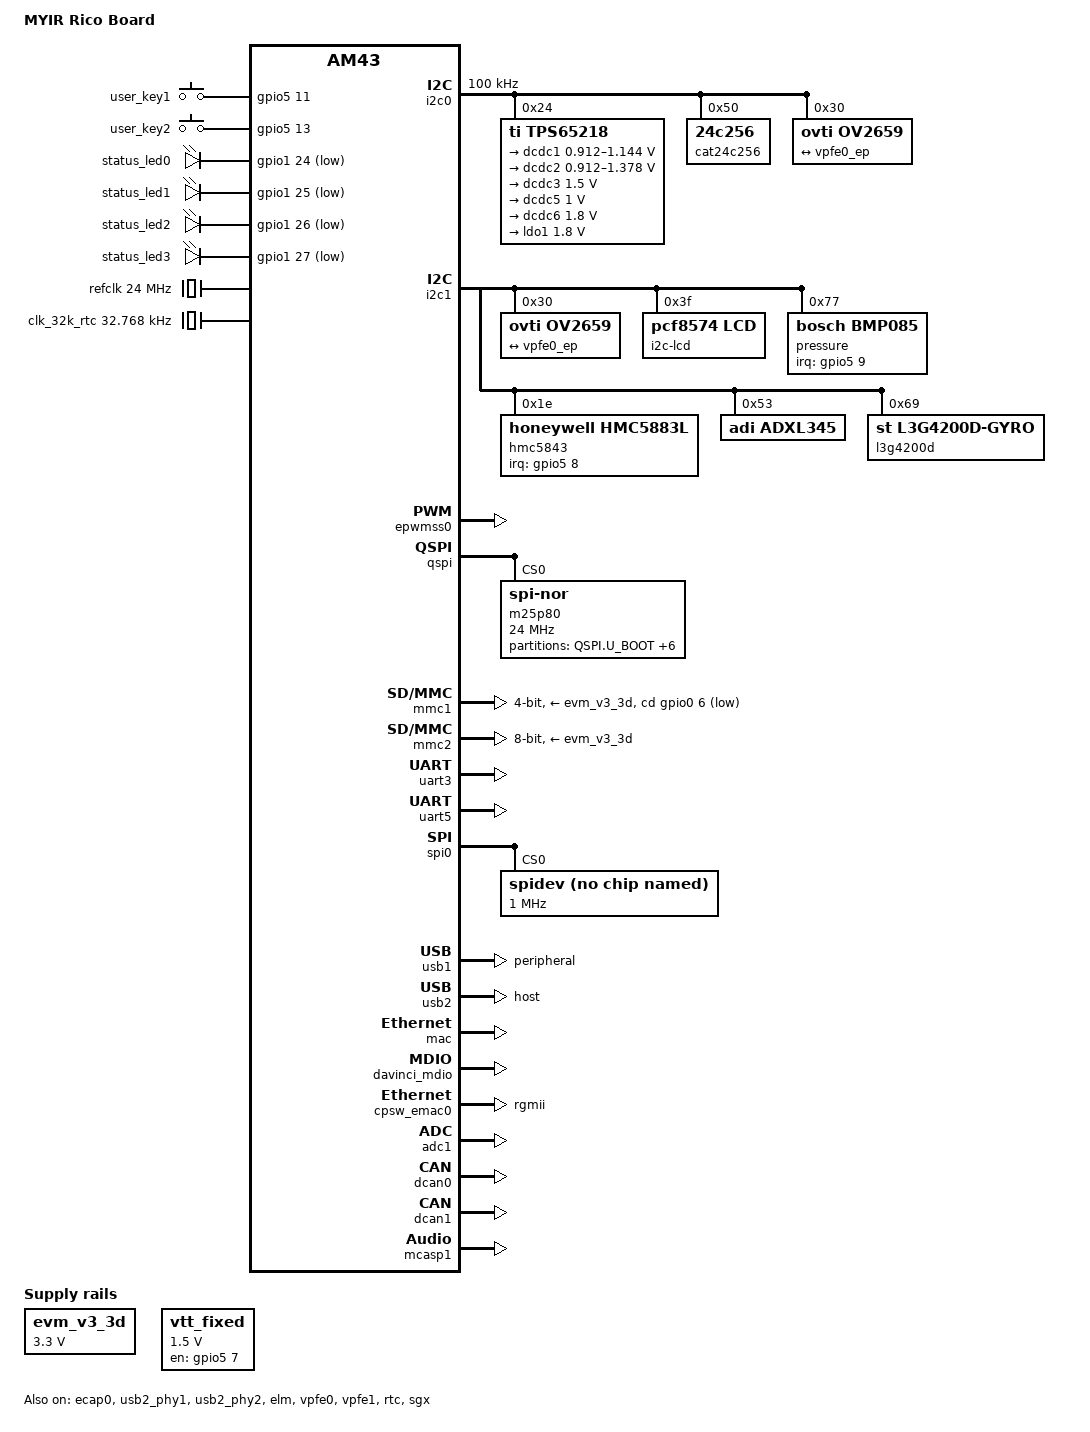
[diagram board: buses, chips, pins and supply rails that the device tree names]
/*
 * Device Tree Source for am4378 Ricoboard
 *
 * Copyright (C) 2013 Texas Instruments Incorporated - http://www.ti.com/
 *
 * This file is licensed under the terms of the GNU General Public License
 * version 2.  This program is licensed "as is" without any warranty of any
 * kind, whether express or implied.
 */

/ {
	model = "MYIR Rico Board";
	compatible = "myir,ricoboard","ti,am4372","ti,am43";

	aliases {
		serial3 = &uart3;
		serial5 = &uart5;
		spi1    = &spi0;
		spi5    = &qspi;
	};

	evm_v3_3d: fixedregulator-v3_3d {
		compatible = "regulator-fixed";
		regulator-name = "evm_v3_3d";
		regulator-min-microvolt = <3300000>;
		regulator-max-microvolt = <3300000>;
		enable-active-high;
	};

	vtt_fixed: fixedregulator-vtt {
		compatible = "regulator-fixed";
		regulator-name = "vtt_fixed";
		regulator-min-microvolt = <1500000>;
		regulator-max-microvolt = <1500000>;
		regulator-always-on;
		regulator-boot-on;
		enable-active-high;
		gpio = <&gpio5 7 GPIO_ACTIVE_HIGH>;
	};

	/* Gpio keys, MYiR */
	gpio_keys {
		compatible = "gpio-keys";
		#address-cells = <1>;
		#size-cells = <0>;
		pinctrl-names = "default";
		pinctrl-0 = <&keys_pins_default>;

		user_key1 {
			label = "user_key1";
			gpios = <&gpio5 11 GPIO_ACTIVE_HIGH>;
			linux,code = <102>;
			gpio-key,wakeup;
		};

		user_key2 {
			label = "user_key2";
			gpios = <&gpio5 13 GPIO_ACTIVE_HIGH>;
			linux,code = <158>;
			gpio-key,wakeup;
		};
	};

	/* Gpio leds, MYiR */
	gpio_leds {
		compatible = "gpio-leds";
		pinctrl-names = "default";
		pinctrl-0 = <&leds_pins_default>;

		status_led0 {
			label = "status_led0";
			gpios = <&gpio1 24 GPIO_ACTIVE_LOW>;
			linux,default-trigger = "heartbeat";
		};

		status_led1 {
			label = "status_led1";
			gpios = <&gpio1 25 GPIO_ACTIVE_LOW>;
			default-state = "off";
		};

		status_led2 {
			label = "status_led2";
			gpios = <&gpio1 26 GPIO_ACTIVE_LOW>;
			default-state = "off";
		};

		status_led3 {
			label = "status_led3";
			gpios = <&gpio1 27 GPIO_ACTIVE_LOW>;
			default-state = "off";
		};
	};

	/* fixed 24MHz oscillator */
	refclk: oscillator {
		#clock-cells = <0>;
		compatible = "fixed-clock";
		clock-frequency = <24000000>;
	};

	/* fixed 32k external oscillator clock */
	clk_32k_rtc: clk_32k_rtc {
		#clock-cells = <0>;
		compatible = "fixed-clock";
		clock-frequency = <32768>;
	};

	sound0: sound0 {
		status = "disabled";
		compatible = "simple-audio-card";
		simple-audio-card,name = "AM437x-GP-EVM";
		simple-audio-card,widgets =
			"Headphone", "Headphone Jack",
			"Line", "Line In";
		simple-audio-card,routing =
			"Headphone Jack",	"HPLOUT",
			"Headphone Jack",	"HPROUT",
			"LINE1L",		"Line In",
			"LINE1R",		"Line In";
		simple-audio-card,format = "dsp_b";
		/* simple-audio-card,bitclock-master = <&sound0_master>; */
		/* simple-audio-card,frame-master = <&sound0_master>; */
		simple-audio-card,bitclock-inversion;

		simple-audio-card,cpu {
			sound-dai = <&mcasp1>;
			system-clock-frequency = <12000000>;
		};

		/* Not directly available on RICO board
		 * sound0_master: simple-audio-card,codec {
		 *	sound-dai = <&tlv320aic3106>;
		 *	system-clock-frequency = <12000000>;
		 * };
		 */
	};
   
};

&am43xx_pinmux {
	pinctrl-names = "default", "sleep";
	pinctrl-0 = <&sii9022_gpio_pins_default &unused_pins>;
	pinctrl-1 = <&sii9022_gpio_pins_sleep &unused_pins>;

    ecap0_pins: backlight_pins {
        pinctrl-single,pins = <
            AM4372_IOPAD(0x964, MUX_MODE0)       /* eCAP0_in_PWM0_out.eCAP0_in_PWM0_out MODE0 */
        >;
    };

	i2c0_pins: i2c0_pins {
		pinctrl-single,pins = <
			AM4372_IOPAD(0x988, PIN_INPUT_PULLUP | SLEWCTRL_FAST | MUX_MODE0)  /* i2c0_sda.i2c0_sda */
			AM4372_IOPAD(0x98c, PIN_INPUT_PULLUP | SLEWCTRL_FAST | MUX_MODE0)  /* i2c0_scl.i2c0_scl */
		>;
	};

	i2c1_pins: i2c1_pins {
		pinctrl-single,pins = <
			AM4372_IOPAD(0xa40, PIN_INPUT_PULLUP | SLEWCTRL_FAST | MUX_MODE1)  /* gpio5_10.i2c1_scl */
			AM4372_IOPAD(0xa48, PIN_INPUT_PULLUP | SLEWCTRL_FAST | MUX_MODE1)  /* gpio5_12.i2c1_sda */
		>;
	};

	mmc1_pins: pinmux_mmc1_pins {
		pinctrl-single,pins = <
			AM4372_IOPAD(0x900, PIN_INPUT_PULLUP | MUX_MODE0) /* mmc0_clk.mmc0_clk */
			AM4372_IOPAD(0x904, PIN_INPUT_PULLUP | MUX_MODE0) /* mmc0_cmd.mmc0_cmd */
			AM4372_IOPAD(0x8f0, PIN_INPUT_PULLUP | MUX_MODE0) /* mmc0_dat0.mmc0_dat0 */
			AM4372_IOPAD(0x8f4, PIN_INPUT_PULLUP | MUX_MODE0) /* mmc0_dat1.mmc0_dat1 */
			AM4372_IOPAD(0x8f8, PIN_INPUT_PULLUP | MUX_MODE0) /* mmc0_dat2.mmc0_dat2 */
			AM4372_IOPAD(0x8fc, PIN_INPUT_PULLUP | MUX_MODE0) /* mmc0_dat3.mmc0_dat3 */
			AM4372_IOPAD(0x960, PIN_INPUT | MUX_MODE7) /* spi0_cs1.gpio0_6 */
		>;
	};

	cpsw_default: cpsw_default {
		pinctrl-single,pins = <
			/* Slave 1 */
			AM4372_IOPAD(0x914, PIN_OUTPUT_PULLDOWN | MUX_MODE2)	/* mii1_txen.rgmii1_txen */
			AM4372_IOPAD(0x918, PIN_INPUT_PULLDOWN | MUX_MODE2)	/* mii1_rxdv.rgmii1_rxctl */
			AM4372_IOPAD(0x91c, PIN_OUTPUT_PULLDOWN | MUX_MODE2)	/* mii1_txd1.rgmii1_txd3 */
			AM4372_IOPAD(0x920, PIN_OUTPUT_PULLDOWN | MUX_MODE2)	/* mii1_txd0.rgmii1_txd2 */
			AM4372_IOPAD(0x924, PIN_OUTPUT_PULLDOWN | MUX_MODE2)	/* mii1_txd1.rgmii1_txd1 */
			AM4372_IOPAD(0x928, PIN_OUTPUT_PULLDOWN | MUX_MODE2)	/* mii1_txd0.rgmii1_txd0 */
			AM4372_IOPAD(0x92c, PIN_OUTPUT_PULLDOWN | MUX_MODE2)	/* mii1_txclk.rmii1_tclk */
			AM4372_IOPAD(0x930, PIN_INPUT_PULLDOWN | MUX_MODE2)	/* mii1_rxclk.rmii1_rclk */
			AM4372_IOPAD(0x934, PIN_INPUT_PULLDOWN | MUX_MODE2)	/* mii1_rxd1.rgmii1_rxd3 */
			AM4372_IOPAD(0x938, PIN_INPUT_PULLDOWN | MUX_MODE2)	/* mii1_rxd0.rgmii1_rxd2 */
			AM4372_IOPAD(0x93c, PIN_INPUT_PULLDOWN | MUX_MODE2)	/* mii1_rxd1.rgmii1_rxd1 */
			AM4372_IOPAD(0x940, PIN_INPUT_PULLDOWN | MUX_MODE2)	/* mii1_rxd0.rgmii1_rxd0 */
		>;
	};

	cpsw_sleep: cpsw_sleep {
		pinctrl-single,pins = <
			/* Slave 1 reset value */
			AM4372_IOPAD(0x914, PIN_INPUT_PULLDOWN | MUX_MODE7)
			AM4372_IOPAD(0x918, PIN_INPUT_PULLDOWN | MUX_MODE7)
			AM4372_IOPAD(0x91c, PIN_INPUT_PULLDOWN | MUX_MODE7)
			AM4372_IOPAD(0x920, PIN_INPUT_PULLDOWN | MUX_MODE7)
			AM4372_IOPAD(0x924, PIN_INPUT_PULLDOWN | MUX_MODE7)
			AM4372_IOPAD(0x928, PIN_INPUT_PULLDOWN | MUX_MODE7)
			AM4372_IOPAD(0x92c, PIN_INPUT_PULLDOWN | MUX_MODE7)
			AM4372_IOPAD(0x930, PIN_INPUT_PULLDOWN | MUX_MODE7)
			AM4372_IOPAD(0x934, PIN_INPUT_PULLDOWN | MUX_MODE7)
			AM4372_IOPAD(0x938, PIN_INPUT_PULLDOWN | MUX_MODE7)
			AM4372_IOPAD(0x93c, PIN_INPUT_PULLDOWN | MUX_MODE7)
			AM4372_IOPAD(0x940, PIN_INPUT_PULLDOWN | MUX_MODE7)
		>;
	};

	davinci_mdio_default: davinci_mdio_default {
		pinctrl-single,pins = <
			/* MDIO */
			AM4372_IOPAD(0x948, PIN_INPUT_PULLUP | SLEWCTRL_FAST | MUX_MODE0)	/* mdio_data.mdio_data */
			AM4372_IOPAD(0x94c, PIN_OUTPUT_PULLUP | MUX_MODE0)			/* mdio_clk.mdio_clk */
		>;
	};

	davinci_mdio_sleep: davinci_mdio_sleep {
		pinctrl-single,pins = <
			/* MDIO reset value */
			AM4372_IOPAD(0x948, PIN_INPUT_PULLDOWN | MUX_MODE7)
			AM4372_IOPAD(0x94c, PIN_INPUT_PULLDOWN | MUX_MODE7)
		>;
	};

	nand_flash_x8: nand_flash_x8 {
		pinctrl-single,pins = <
			AM4372_IOPAD(0x800, PIN_INPUT  | MUX_MODE0)	/* gpmc_ad0.gpmc_ad0 */
			AM4372_IOPAD(0x804, PIN_INPUT  | MUX_MODE0)	/* gpmc_ad1.gpmc_ad1 */
			AM4372_IOPAD(0x808, PIN_INPUT  | MUX_MODE0)	/* gpmc_ad2.gpmc_ad2 */
			AM4372_IOPAD(0x80c, PIN_INPUT  | MUX_MODE0)	/* gpmc_ad3.gpmc_ad3 */
			AM4372_IOPAD(0x810, PIN_INPUT  | MUX_MODE0)	/* gpmc_ad4.gpmc_ad4 */
			AM4372_IOPAD(0x814, PIN_INPUT  | MUX_MODE0)	/* gpmc_ad5.gpmc_ad5 */
			AM4372_IOPAD(0x818, PIN_INPUT  | MUX_MODE0)	/* gpmc_ad6.gpmc_ad6 */
			AM4372_IOPAD(0x81c, PIN_INPUT  | MUX_MODE0)	/* gpmc_ad7.gpmc_ad7 */
			AM4372_IOPAD(0x870, PIN_INPUT_PULLUP | MUX_MODE0)	/* gpmc_wait0.gpmc_wait0 */
			AM4372_IOPAD(0x874, PIN_OUTPUT_PULLUP | MUX_MODE7)	/* gpmc_wpn.gpmc_wpn */
			AM4372_IOPAD(0x87c, PIN_OUTPUT | MUX_MODE0)		/* gpmc_csn0.gpmc_csn0  */
			AM4372_IOPAD(0x890, PIN_OUTPUT | MUX_MODE0)		/* gpmc_advn_ale.gpmc_advn_ale */
			AM4372_IOPAD(0x894, PIN_OUTPUT | MUX_MODE0)		/* gpmc_oen_ren.gpmc_oen_ren */
			AM4372_IOPAD(0x898, PIN_OUTPUT | MUX_MODE0)		/* gpmc_wen.gpmc_wen */
			AM4372_IOPAD(0x89c, PIN_OUTPUT | MUX_MODE0)		/* gpmc_be0n_cle.gpmc_be0n_cle */
		>;
	};

	dss_pins: dss_pins {
		pinctrl-single,pins = <
			AM4372_IOPAD(0x820, PIN_OUTPUT_PULLUP | MUX_MODE1) /*gpmc ad 8 -> DSS DATA 23 */
			AM4372_IOPAD(0x824, PIN_OUTPUT_PULLUP | MUX_MODE1)
			AM4372_IOPAD(0x828, PIN_OUTPUT_PULLUP | MUX_MODE1)
			AM4372_IOPAD(0x82c, PIN_OUTPUT_PULLUP | MUX_MODE1)
			AM4372_IOPAD(0x830, PIN_OUTPUT_PULLUP | MUX_MODE1)
			AM4372_IOPAD(0x834, PIN_OUTPUT_PULLUP | MUX_MODE1)
			AM4372_IOPAD(0x838, PIN_OUTPUT_PULLUP | MUX_MODE1)
			AM4372_IOPAD(0x83c, PIN_OUTPUT_PULLUP | MUX_MODE1) /*gpmc ad 15 -> DSS DATA 16 */
			AM4372_IOPAD(0x8a0, PIN_OUTPUT_PULLUP | MUX_MODE0) /* DSS DATA 0 */
			AM4372_IOPAD(0x8a4, PIN_OUTPUT_PULLUP | MUX_MODE0)
			AM4372_IOPAD(0x8a8, PIN_OUTPUT_PULLUP | MUX_MODE0)
			AM4372_IOPAD(0x8ac, PIN_OUTPUT_PULLUP | MUX_MODE0)
			AM4372_IOPAD(0x8b0, PIN_OUTPUT_PULLUP | MUX_MODE0)
			AM4372_IOPAD(0x8b4, PIN_OUTPUT_PULLUP | MUX_MODE0)
			AM4372_IOPAD(0x8b8, PIN_OUTPUT_PULLUP | MUX_MODE0)
			AM4372_IOPAD(0x8bc, PIN_OUTPUT_PULLUP | MUX_MODE0)
			AM4372_IOPAD(0x8c0, PIN_OUTPUT_PULLUP | MUX_MODE0)
			AM4372_IOPAD(0x8c4, PIN_OUTPUT_PULLUP | MUX_MODE0)
			AM4372_IOPAD(0x8c8, PIN_OUTPUT_PULLUP | MUX_MODE0)
			AM4372_IOPAD(0x8cc, PIN_OUTPUT_PULLUP | MUX_MODE0)
			AM4372_IOPAD(0x8d0, PIN_OUTPUT_PULLUP | MUX_MODE0)
			AM4372_IOPAD(0x8d4, PIN_OUTPUT_PULLUP | MUX_MODE0)
			AM4372_IOPAD(0x8d8, PIN_OUTPUT_PULLUP | MUX_MODE0)
			AM4372_IOPAD(0x8dc, PIN_OUTPUT_PULLUP | MUX_MODE0) /* DSS DATA 15 */
			AM4372_IOPAD(0x8e0, PIN_OUTPUT_PULLUP | MUX_MODE0) /* DSS VSYNC */
			AM4372_IOPAD(0x8e4, PIN_OUTPUT_PULLUP | MUX_MODE0) /* DSS HSYNC */
			AM4372_IOPAD(0x8e8, PIN_OUTPUT_PULLUP | MUX_MODE0) /* DSS PCLK */
			AM4372_IOPAD(0x8ec, PIN_OUTPUT_PULLUP | MUX_MODE0) /* DSS AC BIAS EN */

		>;
	};

	emac_phy_gpio_pins: emac_phy_gpio_pins {
		pinctrl-single,pins = <
			/* GPIO 5_8 is output INT_N / PME_N2 from KSZ9031 ETH PHY */
			AM4372_IOPAD(0xa38, PIN_INPUT_PULLUP | MUX_MODE7)
		>;
	};

	dcan0_default: dcan0_default_pins {
		pinctrl-single,pins = <
			AM4372_IOPAD(0x978, PIN_OUTPUT | MUX_MODE2)		/* uart1_ctsn.d_can0_tx */
			AM4372_IOPAD(0x97c, PIN_INPUT_PULLUP | MUX_MODE2)	/* uart1_rtsn.d_can0_rx */
		>;
	};

	dcan0_sleep: dcan0_sleep_pins {
		pinctrl-single,pins = <
			AM4372_IOPAD(0x978, PIN_INPUT_PULLUP | MUX_MODE7)	/* uart1_ctsn.gpio0_12 */
			AM4372_IOPAD(0x97c, PIN_INPUT_PULLUP | MUX_MODE7)	/* uart1_rtsn.gpio0_13 */
		>;
	};

	dcan1_default: dcan1_default_pins {
		pinctrl-single,pins = <
			AM4372_IOPAD(0x980, PIN_OUTPUT | MUX_MODE2)		/* uart1_rxd.d_can1_tx */
			AM4372_IOPAD(0x984, PIN_INPUT_PULLUP | MUX_MODE2)	/* uart1_txd.d_can1_rx */
		>;
	};

	dcan1_sleep: dcan1_sleep_pins {
		pinctrl-single,pins = <
			AM4372_IOPAD(0x980, PIN_INPUT_PULLUP | MUX_MODE7)	/* uart1_rxd.gpio0_14 */
			AM4372_IOPAD(0x984, PIN_INPUT_PULLUP | MUX_MODE7)	/* uart1_txd.gpio0_15 */
		>;
	};

	vpfe0_pins_default: vpfe0_pins_default {
		pinctrl-single,pins = <
			/*AM4372_IOPAD(0xa70, PIN_OUTPUT_PULLUP | MUX_MODE3) */  /* xdma_event_intr0.clkout1 mode 3*/
			AM4372_IOPAD(0x9b0, PIN_INPUT_PULLUP | MUX_MODE0)  /* cam0_hd mode 0*/
			AM4372_IOPAD(0x9b4, PIN_INPUT_PULLUP | MUX_MODE0)  /* cam0_vd mode 0*/
			AM4372_IOPAD(0x9b8, PIN_INPUT_PULLUP | MUX_MODE0)  /* cam0_field mode 0*/
			AM4372_IOPAD(0x9bC, PIN_INPUT_PULLUP | MUX_MODE0)  /* cam0_wen mode 0*/
			AM4372_IOPAD(0x9c0, PIN_INPUT_PULLUP | MUX_MODE0)  /* cam0_pclk mode 0*/
			AM4372_IOPAD(0x9c4, PIN_INPUT_PULLUP | MUX_MODE0)  /* cam0_data8 mode 0*/
			AM4372_IOPAD(0x9c8, PIN_INPUT_PULLUP | MUX_MODE0)  /* cam0_data9 mode 0*/
			AM4372_IOPAD(0xa08, PIN_INPUT_PULLUP | MUX_MODE0)  /* cam0_data0 mode 0*/
			AM4372_IOPAD(0xa0c, PIN_INPUT_PULLUP | MUX_MODE0)  /* cam0_data1 mode 0*/
			AM4372_IOPAD(0xa10, PIN_INPUT_PULLUP | MUX_MODE0)  /* cam0_data2 mode 0*/
			AM4372_IOPAD(0xa14, PIN_INPUT_PULLUP | MUX_MODE0)  /* cam0_data3 mode 0*/
			AM4372_IOPAD(0xa18, PIN_INPUT_PULLUP | MUX_MODE0)  /* cam0_data4 mode 0*/
			AM4372_IOPAD(0xa1c, PIN_INPUT_PULLUP | MUX_MODE0)  /* cam0_data5 mode 0*/
			AM4372_IOPAD(0xa20, PIN_INPUT_PULLUP | MUX_MODE0)  /* cam0_data6 mode 0*/
			AM4372_IOPAD(0xa24, PIN_INPUT_PULLUP | MUX_MODE0)  /* cam0_data7 mode 0*/
		>;
	};

	vpfe0_pins_sleep: vpfe0_pins_sleep {
		pinctrl-single,pins = <
			AM4372_IOPAD(0x9b0, DS0_PULL_UP_DOWN_EN | INPUT_EN | MUX_MODE7)  /* cam0_hd mode 0*/
			AM4372_IOPAD(0x9b4, DS0_PULL_UP_DOWN_EN | INPUT_EN | MUX_MODE7)  /* cam0_vd mode 0*/
			AM4372_IOPAD(0x9b8, DS0_PULL_UP_DOWN_EN | INPUT_EN | MUX_MODE7)  /* cam0_field mode 0*/
			AM4372_IOPAD(0x9bC, DS0_PULL_UP_DOWN_EN | INPUT_EN | MUX_MODE7)  /* cam0_wen mode 0*/
			AM4372_IOPAD(0x9c0, DS0_PULL_UP_DOWN_EN | INPUT_EN | MUX_MODE7)  /* cam0_pclk mode 0*/
			AM4372_IOPAD(0x9c4, DS0_PULL_UP_DOWN_EN | INPUT_EN | MUX_MODE7)  /* cam0_data8 mode 0*/
			AM4372_IOPAD(0x9c8, DS0_PULL_UP_DOWN_EN | INPUT_EN | MUX_MODE7)  /* cam0_data9 mode 0*/
			AM4372_IOPAD(0xa08, DS0_PULL_UP_DOWN_EN | INPUT_EN | MUX_MODE7)  /* cam0_data0 mode 0*/
			AM4372_IOPAD(0xa0c, DS0_PULL_UP_DOWN_EN | INPUT_EN | MUX_MODE7)  /* cam0_data1 mode 0*/
			AM4372_IOPAD(0xa10, DS0_PULL_UP_DOWN_EN | INPUT_EN | MUX_MODE7)  /* cam0_data2 mode 0*/
			AM4372_IOPAD(0xa14, DS0_PULL_UP_DOWN_EN | INPUT_EN | MUX_MODE7)  /* cam0_data3 mode 0*/
			AM4372_IOPAD(0xa18, DS0_PULL_UP_DOWN_EN | INPUT_EN | MUX_MODE7)  /* cam0_data4 mode 0*/
			AM4372_IOPAD(0xa1c, DS0_PULL_UP_DOWN_EN | INPUT_EN | MUX_MODE7)  /* cam0_data5 mode 0*/
			AM4372_IOPAD(0xa20, DS0_PULL_UP_DOWN_EN | INPUT_EN | MUX_MODE7)  /* cam0_data6 mode 0*/
			AM4372_IOPAD(0xa24, DS0_PULL_UP_DOWN_EN | INPUT_EN | MUX_MODE7)  /* cam0_data7 mode 0*/
		>;
	};

	vpfe1_pins_default: vpfe1_pins_default {
		pinctrl-single,pins = <
			/* AM4372_IOPAD(0xa70, PIN_OUTPUT_PULLUP | MUX_MODE3) */ /* xdma_event_intr0.clkout1 mode 3*/
			AM4372_IOPAD(0x9cc, PIN_INPUT_PULLUP | MUX_MODE0)  /* cam1_data9 mode 0*/
			AM4372_IOPAD(0x9d0, PIN_INPUT_PULLUP | MUX_MODE0)  /* cam1_data8 mode 0*/
			AM4372_IOPAD(0x9d4, PIN_INPUT_PULLUP | MUX_MODE0)  /* cam1_hd mode 0*/
			AM4372_IOPAD(0x9d8, PIN_INPUT_PULLUP | MUX_MODE0)  /* cam1_vd mode 0*/
			AM4372_IOPAD(0x9dC, PIN_INPUT_PULLUP | MUX_MODE0)  /* cam1_pclk mode 0*/
			AM4372_IOPAD(0x9e0, PIN_INPUT_PULLUP | MUX_MODE0)  /* cam1_field mode 0*/
			AM4372_IOPAD(0x9e4, PIN_INPUT_PULLUP | MUX_MODE0)  /* cam1_wen mode 0*/
			AM4372_IOPAD(0x9e8, PIN_INPUT_PULLUP | MUX_MODE0)  /* cam1_data0 mode 0*/
			AM4372_IOPAD(0x9ec, PIN_INPUT_PULLUP | MUX_MODE0)  /* cam1_data1 mode 0*/
			AM4372_IOPAD(0x9f0, PIN_INPUT_PULLUP | MUX_MODE0)  /* cam1_data2 mode 0*/
			AM4372_IOPAD(0x9f4, PIN_INPUT_PULLUP | MUX_MODE0)  /* cam1_data3 mode 0*/
			AM4372_IOPAD(0x9f8, PIN_INPUT_PULLUP | MUX_MODE0)  /* cam1_data4 mode 0*/
			AM4372_IOPAD(0x9fc, PIN_INPUT_PULLUP | MUX_MODE0)  /* cam1_data5 mode 0*/
			AM4372_IOPAD(0xa00, PIN_INPUT_PULLUP | MUX_MODE0)  /* cam1_data6 mode 0*/
			AM4372_IOPAD(0xa04, PIN_INPUT_PULLUP | MUX_MODE0)  /* cam1_data7 mode 0*/
		>;
	};

	vpfe1_pins_sleep: vpfe1_pins_sleep {
		pinctrl-single,pins = <
			AM4372_IOPAD(0x9cc, DS0_PULL_UP_DOWN_EN | INPUT_EN | MUX_MODE7)  /* cam1_data9 mode 0*/
			AM4372_IOPAD(0x9d0, DS0_PULL_UP_DOWN_EN | INPUT_EN | MUX_MODE7)  /* cam1_data8 mode 0*/
			AM4372_IOPAD(0x9d4, DS0_PULL_UP_DOWN_EN | INPUT_EN | MUX_MODE7)  /* cam1_hd mode 0*/
			AM4372_IOPAD(0x9d8, DS0_PULL_UP_DOWN_EN | INPUT_EN | MUX_MODE7)  /* cam1_vd mode 0*/
			AM4372_IOPAD(0x9dc, DS0_PULL_UP_DOWN_EN | INPUT_EN | MUX_MODE7)  /* cam1_pclk mode 0*/
			AM4372_IOPAD(0x9e0, DS0_PULL_UP_DOWN_EN | INPUT_EN | MUX_MODE7)  /* cam1_field mode 0*/
			AM4372_IOPAD(0x9e4, DS0_PULL_UP_DOWN_EN | INPUT_EN | MUX_MODE7)  /* cam1_wen mode 0*/
			AM4372_IOPAD(0x9e8, DS0_PULL_UP_DOWN_EN | INPUT_EN | MUX_MODE7)  /* cam1_data0 mode 0*/
			AM4372_IOPAD(0x9ec, DS0_PULL_UP_DOWN_EN | INPUT_EN | MUX_MODE7)  /* cam1_data1 mode 0*/
			AM4372_IOPAD(0x9f0, DS0_PULL_UP_DOWN_EN | INPUT_EN | MUX_MODE7)  /* cam1_data2 mode 0*/
			AM4372_IOPAD(0x9f4, DS0_PULL_UP_DOWN_EN | INPUT_EN | MUX_MODE7)  /* cam1_data3 mode 0*/
			AM4372_IOPAD(0x9f8, DS0_PULL_UP_DOWN_EN | INPUT_EN | MUX_MODE7)  /* cam1_data4 mode 0*/
			AM4372_IOPAD(0x9fc, DS0_PULL_UP_DOWN_EN | INPUT_EN | MUX_MODE7)  /* cam1_data5 mode 0*/
			AM4372_IOPAD(0xa00, DS0_PULL_UP_DOWN_EN | INPUT_EN | MUX_MODE7)  /* cam1_data6 mode 0*/
			AM4372_IOPAD(0xa04, DS0_PULL_UP_DOWN_EN | INPUT_EN | MUX_MODE7)  /* cam1_data7 mode 0*/
		>;
	};

	mmc3_pins_default: pinmux_mmc3_pins_default {
		pinctrl-single,pins = <
			AM4372_IOPAD(0x88c, PIN_INPUT_PULLUP | MUX_MODE3)      /* gpmc_clk.mmc2_clk */
			AM4372_IOPAD(0x888, PIN_INPUT_PULLUP | MUX_MODE3)      /* gpmc_csn3.mmc2_cmd */
			AM4372_IOPAD(0x844, PIN_INPUT_PULLUP | MUX_MODE3)      /* gpmc_a1.mmc2_dat0 */
			AM4372_IOPAD(0x848, PIN_INPUT_PULLUP | MUX_MODE3)      /* gpmc_a2.mmc2_dat1 */
			AM4372_IOPAD(0x84c, PIN_INPUT_PULLUP | MUX_MODE3)      /* gpmc_a3.mmc2_dat2 */
			AM4372_IOPAD(0x878, PIN_INPUT_PULLUP | MUX_MODE3)      /* gpmc_be1n.mmc2_dat3 */
		>;
	};

	mmc3_pins_sleep: pinmux_mmc3_pins_sleep {
		pinctrl-single,pins = <
			AM4372_IOPAD(0x88c, PIN_INPUT_PULLDOWN | MUX_MODE7)	/* gpmc_clk.mmc2_clk */
			AM4372_IOPAD(0x888, PIN_INPUT_PULLDOWN | MUX_MODE7)	/* gpmc_csn3.mmc2_cmd */
			AM4372_IOPAD(0x844, PIN_INPUT_PULLDOWN | MUX_MODE7)	/* gpmc_a1.mmc2_dat0 */
			AM4372_IOPAD(0x848, PIN_INPUT_PULLDOWN | MUX_MODE7)	/* gpmc_a2.mmc2_dat1 */
			AM4372_IOPAD(0x84c, PIN_INPUT_PULLDOWN | MUX_MODE7)	/* gpmc_a3.mmc2_dat2 */
			AM4372_IOPAD(0x878, PIN_INPUT_PULLDOWN | MUX_MODE7)	/* gpmc_be1n.mmc2_dat3 */
		>;
	};

	uart0_pins: uart0_pins {
		pinctrl-single,pins = <
			/* AM4372_IOPAD(0x968, DS0_PULL_UP_DOWN_EN | INPUT_EN | MUX_MODE0) */ /* uart0_ctsn.unused */
			/* AM4372_IOPAD(0x96c, DS0_PULL_UP_DOWN_EN | INPUT_EN | MUX_MODE0) */ /* uart0_rtsn.unused */
			AM4372_IOPAD(0x970, PIN_INPUT_PULLUP | SLEWCTRL_FAST | DS0_PULL_UP_DOWN_EN | MUX_MODE0) /* uart0_rxd.uart0_rxd */
			AM4372_IOPAD(0x974, PIN_INPUT | PULL_DISABLE | SLEWCTRL_FAST | DS0_PULL_UP_DOWN_EN | MUX_MODE0) /* uart0_txd.uart0_txd */
		>;
	};

	uart3_pins: uart3_pins {
		pinctrl-single,pins = <
			AM4372_IOPAD(0xa28, PIN_INPUT | MUX_MODE0)		/* uart3_rxd.uart3_rxd */
			AM4372_IOPAD(0xa2c, PIN_OUTPUT_PULLDOWN | MUX_MODE0) /* uart3_txd.uart3_txd */
			/* AM4372_IOPAD(0xa30, PIN_INPUT_PULLUP | MUX_MODE0) */	/* uart3_ctsn.uart3_ctsn */
			/* AM4372_IOPAD(0xa34, PIN_OUTPUT_PULLDOWN | MUX_MODE0) */ /* uart3_rtsn.uart3_rtsn */
		>;
	};

	uart5_pins: uart5_pins {
		pinctrl-single,pins = <
			AM4372_IOPAD(0x908, PIN_INPUT | MUX_MODE3)		/* mii1_col.uart5_rxd */
			AM4372_IOPAD(0x944, PIN_OUTPUT_PULLDOWN | MUX_MODE3)	/* rmii1_ref_clk.uart5_txd */
			/* AM4372_IOPAD(0x90c, PIN_INPUT_PULLUP | MUX_MODE) */	/* gmii1_crs.uart5_ctsn */
			/* AM4372_IOPAD(0x910, PIN_OUTPUT_PULLDOWN | MUX_MODE5) */ /* mii1_rx_er.uart5_rtsn */
		>;
	};

	spi0_pins_default: spi0_pins_default {
		pinctrl-single,pins = <
			AM4372_IOPAD(0x950, PIN_OUTPUT | MUX_MODE0 | INPUT_EN) /* spi0_clk */
			AM4372_IOPAD(0x954, PIN_OUTPUT | MUX_MODE0)          /* spi0_d0/mosi */
			AM4372_IOPAD(0x958, PIN_INPUT_PULLUP | MUX_MODE0)    /* spi0_d1/miso */
			AM4372_IOPAD(0x95C, PIN_OUTPUT | MUX_MODE0)          /* spi0_cs0 */
		>;
	};

	spi0_pins_sleep: spi0_pins_sleep {
		pinctrl-single,pins = <
			AM4372_IOPAD(0x950, PIN_INPUT_PULLUP | MUX_MODE7)    /* spi0_clk */
			AM4372_IOPAD(0x954, PIN_INPUT_PULLUP | MUX_MODE7)    /* spi0_d0/mosi */
			AM4372_IOPAD(0x958, PIN_INPUT_PULLUP | MUX_MODE7)    /* spi0_d1/miso */
			AM4372_IOPAD(0x95C, PIN_INPUT_PULLUP | MUX_MODE7)    /* spi0_cs0 */
		>;
	};

	/* Qspi, MYiR */
	qspi_pins_default: qspi_pins_default {
		pinctrl-single,pins = <
			AM4372_IOPAD(0x87c, PIN_OUTPUT_PULLUP | MUX_MODE3)	/* gpmc_csn0.qspi_csn */
			AM4372_IOPAD(0x888, PIN_OUTPUT | MUX_MODE2)		/* gpmc_csn3.qspi_clk */
			AM4372_IOPAD(0x890, PIN_INPUT_PULLUP | MUX_MODE3)	/* gpmc_advn_ale.qspi_d0 */
			AM4372_IOPAD(0x894, PIN_INPUT_PULLUP | MUX_MODE3)	/* gpmc_oen_ren.qspi_d1 */
			AM4372_IOPAD(0x898, PIN_INPUT_PULLUP | MUX_MODE3)	/* gpmc_wen.qspi_d2 */
			AM4372_IOPAD(0x89c, PIN_INPUT_PULLUP | MUX_MODE3)	/* gpmc_be0n_cle.qspi_d3 */
		>;
	};

	qspi_pins_sleep: qspi_pins_sleep{
		pinctrl-single,pins = <
			AM4372_IOPAD(0x87c, PIN_INPUT_PULLDOWN | MUX_MODE7)
			AM4372_IOPAD(0x888, PIN_INPUT_PULLDOWN | MUX_MODE7)
			AM4372_IOPAD(0x890, PIN_INPUT_PULLDOWN | MUX_MODE7)
			AM4372_IOPAD(0x894, PIN_INPUT_PULLDOWN | MUX_MODE7)
			AM4372_IOPAD(0x898, PIN_INPUT_PULLDOWN | MUX_MODE7)
			AM4372_IOPAD(0x89c, PIN_INPUT_PULLDOWN | MUX_MODE7)
		>;
	};

	/* eeprom, MYiR */
	eeprom_wp_pin: eeprom_wp_pin {
		pinctrl-single,pins = <
			AM4372_IOPAD(0xaa4, PIN_OUTPUT_PULLDOWN | MUX_MODE7) /* emu0.gpio3_7 */
		>;
	};

	mcasp1_pins: mcasp1_pins {
		pinctrl-single,pins = <
			AM4372_IOPAD(0x908, PIN_OUTPUT_PULLDOWN | MUX_MODE4)	/* mii1_col.mcasp1_axr2 */
			AM4372_IOPAD(0x90c, PIN_INPUT_PULLDOWN | MUX_MODE4)	/* mii1_crs.mcasp1_aclkx */
			AM4372_IOPAD(0x910, PIN_INPUT_PULLDOWN | MUX_MODE4)	/* mii1_rxerr.mcasp1_fsx */
			AM4372_IOPAD(0x944, PIN_INPUT_PULLDOWN | MUX_MODE4)	/* rmii1_ref_clk.mcasp1_axr3 */
		>;
	};

	mcasp1_sleep_pins: mcasp1_sleep_pins {
		pinctrl-single,pins = <
			AM4372_IOPAD(0x908, PIN_INPUT_PULLDOWN | MUX_MODE7)
			AM4372_IOPAD(0x90c, PIN_INPUT_PULLDOWN | MUX_MODE7)
			AM4372_IOPAD(0x910, PIN_INPUT_PULLDOWN | MUX_MODE7)
			AM4372_IOPAD(0x944, PIN_INPUT_PULLDOWN | MUX_MODE7)
		>;
	};

	emmc_pins_default: emmc_pins_default {
		pinctrl-single,pins = <
			AM4372_IOPAD(0x800, PIN_INPUT_PULLUP | MUX_MODE1) /* gpmc_ad0.mmc1_dat0 */
			AM4372_IOPAD(0x804, PIN_INPUT_PULLUP | MUX_MODE1) /* gpmc_ad1.mmc1_dat1 */
			AM4372_IOPAD(0x808, PIN_INPUT_PULLUP | MUX_MODE1) /* gpmc_ad2.mmc1_dat2 */
			AM4372_IOPAD(0x80c, PIN_INPUT_PULLUP | MUX_MODE1) /* gpmc_ad3.mmc1_dat3 */
			AM4372_IOPAD(0x810, PIN_INPUT_PULLUP | MUX_MODE1) /* gpmc_ad4.mmc1_dat4 */
			AM4372_IOPAD(0x814, PIN_INPUT_PULLUP | MUX_MODE1) /* gpmc_ad5.mmc1_dat5 */
			AM4372_IOPAD(0x818, PIN_INPUT_PULLUP | MUX_MODE1) /* gpmc_ad6.mmc1_dat6 */
			AM4372_IOPAD(0x81c, PIN_INPUT_PULLUP | MUX_MODE1) /* gpmc_ad7.mmc1_dat7 */
			AM4372_IOPAD(0x880, PIN_INPUT_PULLUP | MUX_MODE2) /* gpmc_csn1.mmc1_clk */
			AM4372_IOPAD(0x884, PIN_INPUT_PULLUP | MUX_MODE2) /* gpmc_csn2.mmc1_cmd */
		>;
	};

	emmc_pins_sleep: emmc_pins_sleep {
		pinctrl-single,pins = <
			AM4372_IOPAD(0x800, PIN_INPUT_PULLDOWN | MUX_MODE7) /* gpmc_ad0.gpio1_0 */
			AM4372_IOPAD(0x804, PIN_INPUT_PULLDOWN | MUX_MODE7) /* gpmc_ad1.gpio1_1 */
			AM4372_IOPAD(0x808, PIN_INPUT_PULLDOWN | MUX_MODE7) /* gpmc_ad2.gpio1_2 */
			AM4372_IOPAD(0x80c, PIN_INPUT_PULLDOWN | MUX_MODE7) /* gpmc_ad3.gpio1_3 */
			AM4372_IOPAD(0x810, PIN_INPUT_PULLDOWN | MUX_MODE7) /* gpmc_ad4.gpio1_4 */
			AM4372_IOPAD(0x814, PIN_INPUT_PULLDOWN | MUX_MODE7) /* gpmc_ad5.gpio1_5 */
			AM4372_IOPAD(0x818, PIN_INPUT_PULLDOWN | MUX_MODE7) /* gpmc_ad6.gpio1_6 */
			AM4372_IOPAD(0x81c, PIN_INPUT_PULLDOWN | MUX_MODE7) /* gpmc_ad7.gpio1_7 */
			AM4372_IOPAD(0x880, PIN_INPUT_PULLDOWN | MUX_MODE7) /* gpmc_csn1.gpio1_30 */
			AM4372_IOPAD(0x884, PIN_INPUT_PULLDOWN | MUX_MODE7) /* gpmc_csn2.gpio1_31 */
		>;
	};

	keys_pins_default: keys_pins_default {
		pinctrl-single,pins = <
			AM4372_IOPAD(0xa44, PIN_INPUT_PULLUP | MUX_MODE7)  /* gpio5_11.gpio5_11 */
			AM4372_IOPAD(0xa4c, PIN_INPUT_PULLUP | MUX_MODE7)  /* gpio5_13.gpio5_13 */
		>;
	};

	leds_pins_default: leds_pins_default {
		pinctrl-single,pins = <
			AM4372_IOPAD(0x860, PIN_OUTPUT | MUX_MODE7)	/* gpmc_a8.gpio1_24 */
			AM4372_IOPAD(0x864, PIN_OUTPUT | MUX_MODE7)	/* gpmc_a9.gpio1_25 */
			AM4372_IOPAD(0x868, PIN_OUTPUT | MUX_MODE7)	/* gpmc_a10.gpio1_26 */
			AM4372_IOPAD(0x86c, PIN_OUTPUT | MUX_MODE7)	/* gpmc_a11.gpio1_27 */
		>;
	};

	debugss_pins: pinmux_debugss_pins {
		pinctrl-single,pins = <
			AM4372_IOPAD(0xa90, PIN_INPUT_PULLDOWN) /* tms */
			AM4372_IOPAD(0xa94, PIN_INPUT_PULLDOWN) /* td1 */
			AM4372_IOPAD(0xa98, PIN_INPUT_PULLDOWN) /* td0 */
			AM4372_IOPAD(0xa9C, PIN_INPUT_PULLDOWN) /* tck */
			AM4372_IOPAD(0xaA0, PIN_INPUT_PULLDOWN) /* ntrst */
			AM4372_IOPAD(0xaA4, PIN_INPUT_PULLDOWN) /* emu0 */
			AM4372_IOPAD(0xaA8, PIN_INPUT_PULLDOWN) /* emu1 */
		>;
	};

	usb1_pins_default: usb1_pins_default {
		pinctrl-single,pins = <
			AM4372_IOPAD(0xac0, DS0_PULL_UP_DOWN_EN | PIN_INPUT_PULLDOWN | MUX_MODE0)
		>;
	};

	usb1_pins_sleep: usb1_pins_sleep {
		pinctrl-single,pins = <
			AM4372_IOPAD(0xac0, DS0_PULL_UP_DOWN_EN | PIN_INPUT_PULLDOWN | MUX_MODE7)
		>;
	};

	usb2_pins_default: usb2_pins_default {
		pinctrl-single,pins = <
			AM4372_IOPAD(0xac4, DS0_PULL_UP_DOWN_EN | PIN_INPUT_PULLDOWN | MUX_MODE0)
		>;
	};

	usb2_pins_sleep: usb2_pins_sleep {
		pinctrl-single,pins = <
			AM4372_IOPAD(0xac4, DS0_PULL_UP_DOWN_EN | PIN_INPUT_PULLDOWN | MUX_MODE7)
		>;
	};

	gpio5_pins_default: gpio5_pins_default {
		pinctrl-single,pins = <
			AM4372_IOPAD(0xa3c, PIN_INPUT_PULLUP | MUX_MODE7)
		>;
	};

	gpio5_pins_sleep: gpio5_pins_sleep {
		pinctrl-single,pins = <
			AM4372_IOPAD(0xa3c, PIN_INPUT_PULLDOWN | MUX_MODE7)
		>;
	};

	sii9022_gpio_pins_default: sii9022_gpio_pins_default {
		pinctrl-single,pins = <
			AM4372_IOPAD(0xa78, PIN_INPUT_PULLUP | MUX_MODE7) /* clkreq.gpio0_24.LOWPOWERn */
			AM4372_IOPAD(0xa60, PIN_INPUT_PULLUP | MUX_MODE7) /* spi2_sclk.gpio3_24.gpio0_22.hdmi_intn */
		>;
	};

	sii9022_gpio_pins_sleep: sii9022_gpio_pins_sleep {
		pinctrl-single,pins = <
			AM4372_IOPAD(0xa78, PIN_INPUT_PULLDOWN | MUX_MODE7) /* clkreq.gpio0_24.LOWPOWERn */
			AM4372_IOPAD(0xa60, PIN_INPUT_PULLUP | MUX_MODE7) /* spi2_sclk.gpio3_24.gpio0_22.hdmi_intn */
		>;
	};

	unused_pins: unused_pins {
		pinctrl-single,pins = <
		/*	AM4372_IOPAD(0xaC8, PIN_INPUT_PULLDOWN) */
		/*	AM4372_IOPAD(0xaD4, PIN_INPUT_PULLDOWN) */
		/*	AM4372_IOPAD(0xaD8, PIN_INPUT_PULLDOWN | MUX_MODE7) */
		/*	AM4372_IOPAD(0xaDC, PIN_INPUT_PULLDOWN | MUX_MODE7) */
		/*	AM4372_IOPAD(0xaE0, PIN_INPUT_PULLDOWN | MUX_MODE7) */
		/*	AM4372_IOPAD(0xaE4, PIN_INPUT_PULLDOWN | MUX_MODE7) */
		/*	AM4372_IOPAD(0xaE8, PIN_INPUT_PULLDOWN | MUX_MODE7) */
		/*	AM4372_IOPAD(0xaEC, PIN_INPUT_PULLDOWN | MUX_MODE7) */
		/*	AM4372_IOPAD(0xaF0, PIN_INPUT_PULLDOWN | MUX_MODE7) */
		/*	AM4372_IOPAD(0xaF4, PIN_INPUT_PULLDOWN | MUX_MODE7) */
		/*	AM4372_IOPAD(0xaF8, PIN_INPUT_PULLDOWN | MUX_MODE7) */
		/*	AM4372_IOPAD(0xaFC, PIN_INPUT_PULLDOWN | MUX_MODE7) */
		/*	AM4372_IOPAD(0xb00, PIN_INPUT_PULLDOWN | MUX_MODE7) */
		/*	AM4372_IOPAD(0xb04, PIN_INPUT_PULLDOWN | MUX_MODE7) */
		/*	AM4372_IOPAD(0xb08, PIN_INPUT_PULLDOWN | MUX_MODE7) */
		/*	AM4372_IOPAD(0xb0C, PIN_INPUT_PULLDOWN | MUX_MODE7) */
		/*	AM4372_IOPAD(0xb10, PIN_INPUT_PULLDOWN | MUX_MODE7) */
		/*	AM4372_IOPAD(0xb14, PIN_INPUT_PULLDOWN | MUX_MODE7) */
		/*	AM4372_IOPAD(0xb18, PIN_INPUT_PULLDOWN | MUX_MODE7) */
		/*	AM4372_IOPAD(0x950, PIN_INPUT_PULLDOWN | MUX_MODE7) */ /* spi0_sclk */
		/*	AM4372_IOPAD(0x954, PIN_INPUT_PULLDOWN | MUX_MODE0) */ /* spi0_d0 */
		/*	AM4372_IOPAD(0xa3C, PIN_INPUT_PULLDOWN | MUX_MODE7) */ /* gpio5_9 */
		/*	AM4372_IOPAD(0xa50, PIN_INPUT_PULLDOWN | MUX_MODE7) */ /* spi4_sclk */
		/*	AM4372_IOPAD(0xa54, PIN_INPUT_PULLDOWN | MUX_MODE7) */ /* spi4_d0 */
		>;
	};

	/* Unconfigured pins which are used on Rico Board */
		/*	AM4372_IOPAD(0xa7C, PIN_INPUT | PULL_DISABLE) */ /* nresetin_out */
		/*	AM4372_IOPAD(0x850, PIN_INPUT_PULLDOWN | MUX_MODE7) */ /* gpmc_a4.gpio1_20.CAM0_PWDN */
		/*	AM4372_IOPAD(0x854, PIN_INPUT_PULLDOWN | MUX_MODE7) */ /* gpmc_a5.gpio1_21.CAM0_RST */
		/*	AM4372_IOPAD(0x840, PIN_INPUT_PULLDOWN | MUX_MODE7) */ /* gpmc_a0.gpio1_16.CAM1_PWDN */
		/*	AM4372_IOPAD(0x858, PIN_INPUT_PULLDOWN | MUX_MODE7) */ /* gpmc_a6.gpio1_22.CAM1_RST */
		/*	AM4372_IOPAD(0x958, PIN_INPUT_PULLDOWN | MUX_MODE7) */ /* spi0_d1.gpio0_4  */
		/*	AM4372_IOPAD(0x95c, PIN_INPUT_PULLDOWN | MUX_MODE7) */ /* spi0_cs0.i2c1_scl */
		/*	AM4372_IOPAD(0xa68, PIN_INPUT_PULLDOWN | MUX_MODE7) */ /* spi2_d1.gpio0_21/gpio3_23.TP_RESET */
		/*	AM4372_IOPAD(0xa70, PIN_INPUT_PULLDOWN | MUX_MODE7) */ /* xdma_evt_intr0.CLKOUT1 */
		/*	AM4372_IOPAD(0xa58, PIN_INPUT_PULLDOWN | MUX_MODE7) */ /* spi4_d1.gpio5_6 */
		/*	AM4372_IOPAD(0x990, PIN_INPUT_PULLDOWN | MUX_MODE7) */ /* mcasp0_aclkx */
		/*	AM4372_IOPAD(0x994, PIN_INPUT_PULLDOWN | MUX_MODE7) */ /* mcasp0_fsx */
		/*	AM4372_IOPAD(0x998, PIN_INPUT_PULLDOWN | MUX_MODE7) */ /* mcasp0_axr0 */
		/*	AM4372_IOPAD(0x99C, PIN_INPUT_PULLDOWN | MUX_MODE7) */ /* mcasp0_ahclkr */
		/*	AM4372_IOPAD(0x9A0, PIN_INPUT_PULLDOWN | MUX_MODE7) */ /* mcasp0_aclkr */
};

&i2c0 {
	status = "okay";
	pinctrl-names = "default";
	pinctrl-0 = <&i2c0_pins>;
	clock-frequency = <100000>;

	tps65218: tps65218@24 {
		reg = <0x24>;
		compatible = "ti,tps65218";
		interrupts = <GIC_SPI 7 IRQ_TYPE_NONE>; /* NMIn */
		interrupt-controller;
		#interrupt-cells = <2>;

		dcdc1: regulator-dcdc1 {
			regulator-name = "vdd_core";
			regulator-min-microvolt = <912000>;
			regulator-max-microvolt = <1144000>;
			regulator-boot-on;
			regulator-always-on;
		};

		dcdc2: regulator-dcdc2 {
			regulator-name = "vdd_mpu";
			regulator-min-microvolt = <912000>;
			regulator-max-microvolt = <1378000>;
			regulator-boot-on;
			regulator-always-on;
		};

		dcdc3: regulator-dcdc3 {
			regulator-name = "vdcdc3";
			regulator-min-microvolt = <1500000>; /* powers VDDS_DDR */
			regulator-max-microvolt = <1500000>;
			regulator-boot-on;
			regulator-always-on;
			regulator-state-mem {
				regulator-on-in-suspend;
			};
			regulator-state-disk {
				regulator-off-in-suspend;
			};
		};

		dcdc5: regulator-dcdc5 {
			regulator-name = "v1_0bat";
			regulator-min-microvolt = <1000000>;
			regulator-max-microvolt = <1000000>;
			regulator-boot-on;
			regulator-always-on;
			regulator-state-mem {
				regulator-on-in-suspend;
			};
		};

		dcdc6: regulator-dcdc6 {
			regulator-name = "v1_8bat";
			regulator-min-microvolt = <1800000>;
			regulator-max-microvolt = <1800000>;
			regulator-boot-on;
			regulator-always-on;
			regulator-state-mem {
				regulator-on-in-suspend;
			};
		};

		ldo1: regulator-ldo1 {
			regulator-min-microvolt = <1800000>;
			regulator-max-microvolt = <1800000>;
			regulator-boot-on;
			regulator-always-on;
		};

		power-button {
			compatible = "ti,tps65218-pwrbutton";
			interrupts = <3 IRQ_TYPE_EDGE_BOTH>;
		};
	};

	cat24c256@50 {
		compatible = "24c256";
		reg = <0x50>;

		pagesize = <64>;
	};

	ov2659@30 {
		compatible = "ovti,ov2659";
		reg = <0x30>;

		clocks = <&refclk 0>;
		clock-names = "xvclk";

		port {
			ov2659_0: endpoint {
				remote-endpoint = <&vpfe0_ep>;
				link-frequencies = /bits/ 64 <70000000>;
			};
		};
	};


};

&i2c1 {
	status = "okay";
	pinctrl-names = "default";
	pinctrl-0 = <&i2c1_pins>;

	ov2659@30 {
		compatible = "ovti,ov2659";
		reg = <0x30>;

		clocks = <&refclk 0>;
		clock-names = "xvclk";

		port {
			ov2659_1: endpoint {
				remote-endpoint = <&vpfe0_ep>;
				link-frequencies = /bits/ 64 <70000000>;
			};
		};
	};
	
		i2c-lcd@30F{
		compatible = "pcf8574,lcd";
		reg = <0x3F>;
	};
	
	pressure@77 {
		compatible = "bosch,bmp085";
		reg = <0x77>;
//	chip-id = <10>;
		temp-measurement-period = <100>;
		default-oversampling = <2>;
		interrupt-parent = <&gpio5>;
		interrupts = <9 IRQ_TYPE_EDGE_RISING>;
//	reset-gpios = <&gpio0 26 GPIO_ACTIVE_LOW>;
//	vddd-supply = <&foo>;
//	vdda-supply = <&bar>;
	};
	hmc5843@1e {
		compatible = "honeywell,hmc5883l";
		reg = <0x1e>;
//	pinctrl-names = "default";
//	pinctrl-0 = <&hmc5843_pins>;
		interrupt-parent = <&gpio5>;
		interrupts = <8 IRQ_TYPE_EDGE_FALLING>; /* DRDY line */
	};

	adxl345: adxl345@0 {
		compatible = "adi,adxl345";
		reg = <0x53>;
		//interrupt-parent = <&gpio5>;
		//interrupts = <9 IRQ_TYPE_EDGE_RISING>;
	};
	
	l3g4200d@68 {
		compatible = "st,l3g4200d-gyro";
		st,drdy-int-pin = <2>;
		reg = <0x69>;
//        vdd-supply = <&ab8500_ldo_aux1_reg>;
//	vddio-supply = <&db8500_vsmps2_reg>;
//	pinctrl-names = "default";
//	pinctrl-0 = <&gyro_snowball_mode>;
//	interrupt-parent = <&gpio5>;
//	interrupts = <6 IRQ_TYPE_EDGE_RISING>, /* DRDY line */
//                    <9 IRQ_TYPE_EDGE_RISING>; /* INT1 */
		             //<9 IRQ_TYPE_EDGE_RISING>; /* INT1 */
	};
	

};

&epwmss0 {
	status = "okay";
};

&ecap0 {
	status = "okay";
	pinctrl-names = "default";
	pinctrl-0 = <&ecap0_pins>;
};

&gpio0 {
	status = "okay";
};

&gpio1 {
	status = "okay";
};

&gpio2 {
	status = "okay";
};

&gpio3 {
	status = "okay";
};

&gpio4 {
	status = "okay";
};

&gpio5 {
	status = "okay";
	pinctrl-names = "default";
	pinctrl-0 = <&emac_phy_gpio_pins>;

	/*
	p8 {
		gpio-hog;
		gpios = <8 GPIO_ACTIVE_HIGH>;
		output-high;
		line-name = "emac_phy_gpio_int";
	};
	*/
};

/* Enable qspi, 16MB S25FL128S norflash, MYiR */
&qspi {
	status = "okay";
	pinctrl-names = "default", "sleep";
	pinctrl-0 = <&qspi_pins_default>;
	pinctrl-1 = <&qspi_pins_sleep>;

	spi-max-frequency = <24000000>;
	/* Export SPI MTD device to user-space for testing
	spidev4mtd@0 {
		spi-max-frequency = <24000000>;
		compatible = "spidev";
		reg = <0>;
	};
	*/
	m25p80@0 {
		/*"s25fl256s1", "spansion,s25fl128s", "spansion,m25p80"*/
		/* compatible = "s25fl256s1", "jedec,spi-nor"; */
		compatible = "jedec,spi-nor";
		spi-max-frequency = <24000000>;
		reg = <0>;
		spi-cpol;
		spi-cpha;
		spi-tx-bus-width = <1>;
		spi-rx-bus-width = <4>;
		#address-cells = <1>;
		#size-cells = <1>;

		/* MTD partition table.
		 * The ROM checks the first 512KiB
		 * for a valid file to boot(XIP).
		 */
		partition@0 {
			label = "QSPI.U_BOOT";
			reg = <0x00000000 0x000080000>;
		};
		partition@1 {
			label = "QSPI.U_BOOT.backup";
			reg = <0x00080000 0x00080000>;
		};
		partition@2 {
			label = "QSPI.U_BOOT_ENV";
			reg = <0x00100000 0x00020000>;
		};
		partition@3 {
			label = "QSPI.U-BOOT-ENV.backup";
			reg = <0x00120000 0x00020000>;
		};
		partition@4 {
			label = "QSPI.U-BOOT-DEVICETREE";
			reg = <0x00140000 0x00010000>;
		};
		partition@5 {
			label = "QSPI.KERNEL";
			reg = <0x00150000 0x0500000>;
		};
		partition@6 {
			label = "QSPI.FILESYSTEM";
			reg = <0x00650000 0x9B0000>;
		};
	};
};

&mmc1 {
	status = "okay";
	vmmc-supply = <&evm_v3_3d>;
	bus-width = <4>;
	pinctrl-names = "default";
	pinctrl-0 = <&mmc1_pins>;
	cd-gpios = <&gpio0 6 GPIO_ACTIVE_LOW>;
};

/* eMMC sits on mmc2 */
&mmc2 {
	status = "okay";
	vmmc-supply = <&evm_v3_3d>;
	bus-width = <8>;
	pinctrl-names = "default", "sleep";
	pinctrl-0 = <&emmc_pins_default>;
	pinctrl-1 = <&emmc_pins_sleep>;
	ti,non-removable;
};

&mmc3 {
	status = "disabled";
	/* these are on the crossbar and are outlined in the
	   xbar-event-map element */
	dmas = <&edma_xbar 30 0 1>,
		<&edma_xbar 31 0 2>;
	dma-names = "tx", "rx";
	vmmc-supply = <&evm_v3_3d>;
	bus-width = <4>;
	pinctrl-names = "default", "sleep";
	pinctrl-0 = <&mmc3_pins_default>;
	pinctrl-1 = <&mmc3_pins_sleep>;
	ti,non-removable;
};

&uart3 {
	status = "okay";
	pinctrl-names = "default";
	pinctrl-0 = <&uart3_pins>;
};

&uart5 {
	status = "okay";
	pinctrl-names = "default";
	pinctrl-0 = <&uart5_pins>;
};

&spi0 {
	status = "okay";
	pinctrl-names = "default", "sleep";
	pinctrl-0 = <&spi0_pins_default>;
	pinctrl-1 = <&spi0_pins_sleep>;
	ti,pindir-d0-out-d1-in = <1>;
	spidev@0 {
		compatible = "spidev";
		/* compatible = "rohm,dh2228fv"; */
		reg = <0>;
		#address-cells = <1>;
		#size-cells = <0>;//
		spi-max-frequency = <1000000>;
		/* spi-cpha; */
	};
};

&usb2_phy1 {
	status = "okay";
};

&usb1 {
	dr_mode = "peripheral";
	status = "okay";
	pinctrl-names = "default", "sleep";
	pinctrl-0 = <&usb1_pins_default>;
	pinctrl-1 = <&usb1_pins_sleep>;
};

&usb2_phy2 {
	status = "okay";
};

&usb2 {
	dr_mode = "host";
	status = "okay";
	pinctrl-names = "default", "sleep";
	pinctrl-0 = <&usb2_pins_default>;
	pinctrl-1 = <&usb2_pins_sleep>;
};

&mac {
	slaves = <1>;
	pinctrl-names = "default", "sleep";
	pinctrl-0 = <&cpsw_default>;
	pinctrl-1 = <&cpsw_sleep>;
	status = "okay";
};

&davinci_mdio {
	pinctrl-names = "default", "sleep";
	pinctrl-0 = <&davinci_mdio_default>;
	pinctrl-1 = <&davinci_mdio_sleep>;
	status = "okay";
};

&cpsw_emac0 {
	phy_id = <&davinci_mdio>, <0>;
	phy-mode = "rgmii";
};

&elm {
	status = "okay";
};

&adc1 {
	status = "okay";
	ti,adc-channels = <0 1 2 3 4 5 6 7>;
};

&dcan0 {
	pinctrl-names = "default", "sleep";
	pinctrl-0 = <&dcan0_default>;
	pinctrl-1 = <&dcan0_sleep>;
	status = "okay";
};

&dcan1 {
	pinctrl-names = "default", "sleep";
	pinctrl-0 = <&dcan1_default>;
	pinctrl-1 = <&dcan1_sleep>;
	status = "okay";
};

&mcasp1 {
	#sound-dai-cells = <0>;
	pinctrl-names = "default", "sleep";
	pinctrl-0 = <&mcasp1_pins>;
	pinctrl-1 = <&mcasp1_sleep_pins>;

	status = "ok";

	op-mode = <0>; /* MCASP_IIS_MODE */
	tdm-slots = <2>;
	/* 4 serializers */
	serial-dir = <  /* 0: INACTIVE, 1: TX, 2: RX */
		0 0 1 2
	>;
	tx-num-evt = <32>;
	rx-num-evt = <32>;
};


&vpfe0 {
	status = "okay";
	pinctrl-names = "default", "sleep";
	pinctrl-0 = <&vpfe0_pins_default>;
	pinctrl-1 = <&vpfe0_pins_sleep>;

	port {
		vpfe0_ep: endpoint {
			remote-endpoint = <&ov2659_0>;
			ti,am437x-vpfe-interface = <0>;
			bus-width = <8>;
			hsync-active = <0>;
			vsync-active = <0>;
		};
	};
};

&vpfe1 {
	status = "okay";
	pinctrl-names = "default", "sleep";
	pinctrl-0 = <&vpfe1_pins_default>;
	pinctrl-1 = <&vpfe1_pins_sleep>;

	port {
		vpfe1_ep: endpoint {
			remote-endpoint = <&ov2659_1>;
			ti,am437x-vpfe-interface = <0>;
			bus-width = <8>;
			hsync-active = <0>;
			vsync-active = <0>;
		};
	};
};

&rtc {
	clocks = <&clk_32k_rtc>, <&clk_32768_ck>;
	clock-names = "ext-clk", "int-clk";
	status = "okay";
};

&cpu {
	cpu0-supply = <&dcdc2>;
	/* Operating frequencies */
	/* Defaults specified in arch/arm/mach-omap2/opp43xx_data.c */
	/* operating-points = <300000 950000>,
	                   <600000 1100000>,
	                   <720000 1200000>,
	                   <800000 1260000>,
	                   <1000000 1330000>; */
};

&sgx {
	status = "okay";
};
